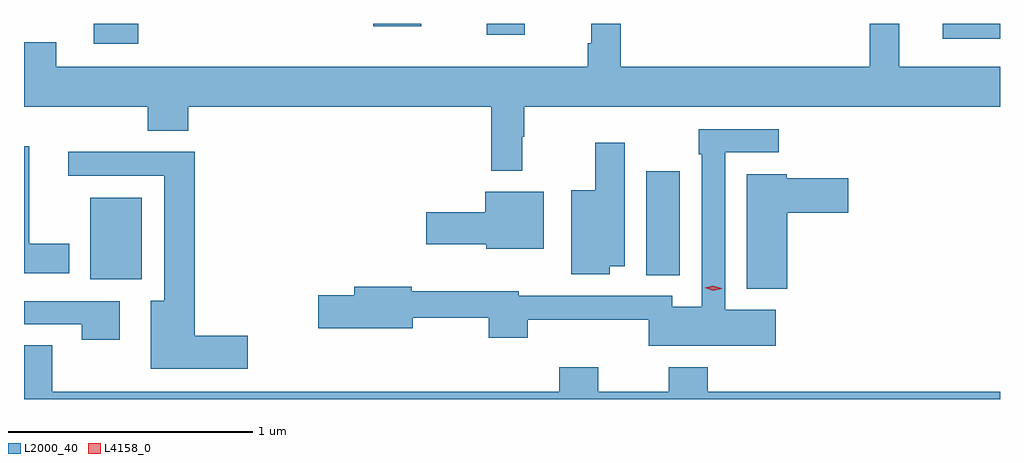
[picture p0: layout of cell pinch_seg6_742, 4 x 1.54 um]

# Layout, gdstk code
import gdstk
lib = gdstk.Library(unit=1e-6, precision=1e-09)
def R(c, l, rs):  # rectangles x0, y0, x1, y1
    for r in rs: c.add(gdstk.rectangle(r[:2], r[2:], *l))
def P(c, l, *ps):  # polygons
    for p in ps: c.add(gdstk.Polygon(p, *l))
L2000_40 = (2000, 40)
L4158_0 = (4158, 0)

pinch_seg6_742 = lib.new_cell('pinch_seg6_742')
R(pinch_seg6_742, L2000_40, [(614.84,915.992,615.052,916.327), (617.12,916.009,617.257,916.435), (614.855,916.958,615.037,917.04), (618.335,916.979,618.569,917.04), (616.466,916.995,616.621,917.04), (616,917.03,616.198,917.04)])
P(pinch_seg6_742, L2000_40, [(616.612,916.577),(616.619,916.577),(616.619,916.7),(618.569,916.7),(618.569,916.864),(618.157,916.864),(618.157,917.04),(618.036,917.04),(618.036,916.864),(617.015,916.864),(617.015,917.04),(616.894,917.04),(616.894,916.96),(616.879,916.96),(616.879,916.864),(614.701,916.864),(614.701,916.963),(614.569,916.963),(614.569,916.7),(615.077,916.7),(615.077,916.601),(615.242,916.601),(615.242,916.7),(616.483,916.7),(616.483,916.437),(616.612,916.437)],
  [(617.65,915.868),(617.442,915.868),(617.442,916.512),(617.662,916.512),(617.662,916.608),(617.334,916.608),(617.334,916.505),(617.346,916.505),(617.346,915.88),(617.226,915.88),(617.226,915.924),(616.596,915.924),(616.596,915.944),(616.158,915.944),(616.158,915.962),(615.923,915.962),(615.923,915.926),(615.774,915.926),(615.774,915.791),(616.162,915.791),(616.162,915.834),(616.474,915.834),(616.474,915.752),(616.634,915.752),(616.634,915.827),(617.13,915.827),(617.13,915.719),(617.65,915.719)],
  [(616.969,916.046),(617.032,916.046),(617.032,916.552),(616.91,916.552),(616.91,916.357),(616.811,916.357),(616.811,916.013),(616.969,916.013)],
  [(614.755,916.138),(614.59,916.138),(614.59,916.537),(614.569,916.537),(614.569,916.016),(614.755,916.016)],
  [(615.487,915.761),(615.269,915.761),(615.269,916.514),(614.751,916.514),(614.751,916.416),(615.143,916.416),(615.143,915.904),(615.089,915.904),(615.089,915.626),(615.487,915.626)],
  [(617.698,916.265),(617.947,916.265),(617.947,916.407),(617.694,916.407),(617.694,916.423),(617.531,916.423),(617.531,915.953),(617.698,915.953)],
  [(616.699,916.351),(616.46,916.351),(616.46,916.266),(616.218,916.266),(616.218,916.136),(616.464,916.136),(616.464,916.118),(616.699,916.118)],
  [(614.962,915.903),(614.569,915.903),(614.569,915.807),(614.806,915.807),(614.806,915.744),(614.962,915.744)],
  [(618.569,915.532),(617.372,915.532),(617.372,915.631),(617.212,915.631),(617.212,915.532),(616.923,915.532),(616.923,915.631),(616.763,915.631),(616.763,915.532),(614.685,915.532),(614.685,915.722),(614.569,915.722),(614.569,915.5),(618.569,915.5)])
P(pinch_seg6_742, L4158_0, [(617.393,915.946),(617.358,915.957),(617.358,915.957),(617.358,915.958),(617.393,915.966),(617.428,915.955),(617.428,915.955),(617.428,915.954)])

lib.write_gds('pinch_seg6_742.gds')
